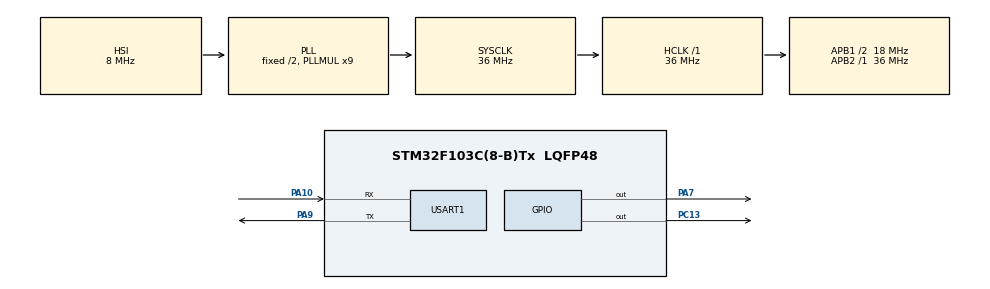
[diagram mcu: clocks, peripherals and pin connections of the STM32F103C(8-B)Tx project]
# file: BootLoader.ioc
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Mcu.Family=STM32F1
Mcu.Name=STM32F103C(8-B)Tx
Mcu.Package=LQFP48
NVIC.PriorityGroup=NVIC_PRIORITYGROUP_4
PA10.Mode=Asynchronous
PA10.Signal=USART1_RX
PA7.Signal=GPIO_Output
PA9.Mode=Asynchronous
PA9.Signal=USART1_TX
PC13-TAMPER-RTC.Signal=GPIO_Output
ProjectManager.HeapSize=0x200
ProjectManager.StackSize=0x400
ProjectManager.TargetToolchain=STM32CubeIDE
RCC.AHBFreq_Value=36000000
RCC.APB1CLKDivider=RCC_HCLK_DIV2
RCC.APB1Freq_Value=18000000
RCC.APB1TimFreq_Value=36000000
RCC.APB2Freq_Value=36000000
RCC.APB2TimFreq_Value=36000000
RCC.HCLKFreq_Value=36000000
RCC.PLLMUL=RCC_PLL_MUL9
RCC.SYSCLKFreq_VALUE=36000000
RCC.SYSCLKSource=RCC_SYSCLKSOURCE_PLLCLK
RCC.USBFreq_Value=24000000
RCC.USBPrescaler=RCC_USBCLKSOURCE_PLL_DIV1_5
USART1.VirtualMode=VM_ASYNC
board=custom

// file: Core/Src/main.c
/* USER CODE BEGIN Header */
/**
  ******************************************************************************
  * @file           : main.c
  * @brief          : Main program body
  ******************************************************************************
  * @attention
  *
  * Copyright (c) 2023 STMicroelectronics.
  * All rights reserved.
  *
  * This software is licensed under terms that can be found in the LICENSE file
  * in the root directory of this software component.
  * If no LICENSE file comes with this software, it is provided AS-IS.
  *
  ******************************************************************************
  */
/* USER CODE END Header */
#include "main.h"

/* USER CODE BEGIN Includes */
#include <stdio.h>
#include "BL_Functions.h"
#include "SharedAPIs.h"
//#include "Print.h"
#include "Flashing.h"
#include "NVM.h"
#include "SharedData.h"
#include "Print.h"
/* USER CODE END Includes */

/* USER CODE BEGIN PTD */
typedef uint8_t	uint8;
/* USER CODE END PTD */

/* USER CODE BEGIN PD */
#define 	MAJOR_VERSION		0
#define 	MINOR_VERSION		5

#define 	JUST_FLASHED_4BYTES		0xAAAAAAAA

/* USER CODE END PD */

UART_HandleTypeDef huart1;

/* USER CODE BEGIN PV */
const uint8 BL_Version[2] = {MAJOR_VERSION, MINOR_VERSION};
/* USER CODE END PV */

void SystemClock_Config(void);
static void MX_GPIO_Init(void);
static void MX_USART1_UART_Init(void);

/* USER CODE BEGIN 0 */

//NVM_VARIABLE(uint32_t,Counter) = 0;
/* USER CODE END 0 */

int main(void)
{
  /* USER CODE BEGIN 1 */
//#define NVM_TEST
//	BlockIDs NVM_Blocks;
#ifdef NVM_TEST
	uint32_t* u32_Data = 0;
	NVM_ReadBlock(JustFlashed, u32_Data);

	if (*u32_Data != JUST_FLASHED_4BYTES)
	{
		/* This Software has just been Flashed */
		NVM_WriteBlock(JustFlashed,(uint32_t*) JUST_FLASHED_4BYTES);
		NVM_WriteBlock(BootCounter,(uint32_t*) 1);
		/* w hna n3ml flash l el Application software */
	}
	else
	{
		uint32_t* BootCounterFromNVM = 0;
		NVM_ReadBlock(BootCounter, BootCounterFromNVM);

		NVM_WriteBlock(BootCounter,(uint32_t*) BootCounterFromNVM + 1);
		printf("this is the Boot Number = %ul",*BootCounterFromNVM);
	}
#endif
  /* USER CODE END 1 */

  /* MCU Configuration--------------------------------------------------------*/
	if(SharedStruct.DownloadRequestedFromApplication != 1)
	{
  /* Reset of all peripherals, Initializes the Flash interface and the Systick. */
		HAL_Init();
	}

  /* Configure the system clock */
  SystemClock_Config();

  /* USER CODE BEGIN SysInit */
//	HAL_GPIO_TogglePin(GPIOC, GPIO_PIN_13);
  /* USER CODE END SysInit */

  /* Initialize all configured peripherals */
  MX_GPIO_Init();
  MX_USART1_UART_Init();
  /* USER CODE BEGIN 2 */
//  printf("Starting BootLoader (%d.%d)\r\n",BL_Version[0],BL_Version[1]);

  /* USER CODE END 2 */

  /* Infinite loop */
  /* USER CODE BEGIN WHILE */
	uint8_t Status;
	Status = CheckIfAppCorupted();
	if (Status == 1)
	{
//		uint8_t StatusFlashing = FlashApplication();
	}
	else if (SharedStruct.DownloadRequestedFromApplication == 1)
	{
//		uint8_t StatusFlashing = FlashApplication();
	}

  while (1)
  {
#define SHARED_APIS_TEST
#ifdef SHARED_APIS_TEST

	  SharedAPIs.ToggleLedPtr();
	  HAL_Delay(1000);

//		Counter ++;
//		u32 address = 0x800EC08;
//		u32* ptr = 0x800EC08;
//		u32* BootCounter = 0x800EC04;
//		u32* BootCounterAddress = 0x800EC04;

#endif
		uint32_t DataToBeWritten = 0xAABBCCDD;
		uint32_t DataBuffer;
#ifdef GITHUB_FLASH

		if (*ptr != 0x55555555)
		{
			/* we have just flashed */
			status = FLASH_Unlock();
			status = FLASH_MultiplePageErase(address,1);
			status = FLASH_WriteWord((u32*)address,0x55555555);

			status = FLASH_WriteWord((u32*)BootCounterAddress,0);
			HAL_GPIO_WritePin(GPIOC, GPIO_PIN_13,GPIO_PIN_SET);
			printf("We didnot Found the Saved Address\r\n");
		}
		else
		{
			uint32_t Counter = *BootCounter;
			Counter = Counter + 1;
		status = FLASH_WriteWord((u32*)BootCounterAddress,Counter);
		printf("We Booted This Software %d Times\r\n", Counter);
		}
#endif

#ifdef TESTING_NVM
		Status = FlashUnlock();
		Status = NVM_WriteAddress(AppCounter, &DataToBeWritten);
		FlashLock();
		HAL_Delay(100);
		DataToBeWritten = 0x11223344;
		Status = FlashUnlock();
		Status = NVM_OverWriteAddress(AppCounter, &DataToBeWritten);
		FlashLock();

		if(EnterOnce == 1)
		{
			EnterOnce = 0;
			NVM_ReadAddress(BootCounter, &DataBuffer);
			if (DataBuffer == 0xFFFFFFFF)
			{
				/* This is the first time boot */
				DataToBeWritten = 0;
				Status = FlashUnlock();
				Status = NVM_WriteAddress(BootCounter, &DataToBeWritten);
				FlashLock();
				printf("I have Wrote zero in the section\r\n");
			}
			else
			{
				DataToBeWritten = DataBuffer + 1;
				Status = FlashUnlock();
				Status = NVM_OverWriteAddress(BootCounter, &DataToBeWritten);
				Status = FlashUnlock();
				printf("I have Wrote %d in the Section, we entered the else\r\n",DataToBeWritten);
			}

		}
#endif

		if(SharedStruct.GoToBootloaderRequested == 1 )
		{
			SharedAPIs.UDS_MainFunction();
		}
		else
		{
//			GoToApplication();
			UDS_MainFunction();
		}

    /* USER CODE END WHILE */

  }
}

void SystemClock_Config(void)
{
  RCC_OscInitTypeDef RCC_OscInitStruct = {0};
  RCC_ClkInitTypeDef RCC_ClkInitStruct = {0};

  /** Initializes the RCC Oscillators according to the specified parameters
  * in the RCC_OscInitTypeDef structure.
  */
  RCC_OscInitStruct.OscillatorType = RCC_OSCILLATORTYPE_HSI;
  RCC_OscInitStruct.HSIState = RCC_HSI_ON;
  RCC_OscInitStruct.HSICalibrationValue = RCC_HSICALIBRATION_DEFAULT;
  RCC_OscInitStruct.PLL.PLLState = RCC_PLL_ON;
  RCC_OscInitStruct.PLL.PLLSource = RCC_PLLSOURCE_HSI_DIV2;
  RCC_OscInitStruct.PLL.PLLMUL = RCC_PLL_MUL9;
  if (HAL_RCC_OscConfig(&RCC_OscInitStruct) != HAL_OK)
  {
    Error_Handler();
  }

  /** Initializes the CPU, AHB and APB buses clocks
  */
  RCC_ClkInitStruct.ClockType = RCC_CLOCKTYPE_HCLK|RCC_CLOCKTYPE_SYSCLK
                              |RCC_CLOCKTYPE_PCLK1|RCC_CLOCKTYPE_PCLK2;
  RCC_ClkInitStruct.SYSCLKSource = RCC_SYSCLKSOURCE_PLLCLK;
  RCC_ClkInitStruct.AHBCLKDivider = RCC_SYSCLK_DIV1;
  RCC_ClkInitStruct.APB1CLKDivider = RCC_HCLK_DIV2;
  RCC_ClkInitStruct.APB2CLKDivider = RCC_HCLK_DIV1;

  if (HAL_RCC_ClockConfig(&RCC_ClkInitStruct, FLASH_LATENCY_1) != HAL_OK)
  {
    Error_Handler();
  }
}

static void MX_USART1_UART_Init(void)
{

	huart1.Instance = USART1;
	huart1.Init.BaudRate = 115200;
	huart1.Init.WordLength = UART_WORDLENGTH_8B;
	huart1.Init.StopBits = UART_STOPBITS_1;
	huart1.Init.Parity = UART_PARITY_NONE;
	huart1.Init.Mode = UART_MODE_TX_RX;
	huart1.Init.HwFlowCtl = UART_HWCONTROL_NONE;
	huart1.Init.OverSampling = UART_OVERSAMPLING_16;
	if (HAL_UART_Init(&huart1) != HAL_OK)
	{
		Error_Handler();
	}

}

static void MX_GPIO_Init(void)
{
  GPIO_InitTypeDef GPIO_InitStruct = {0};

  /* GPIO Ports Clock Enable */
  __HAL_RCC_GPIOC_CLK_ENABLE();
  __HAL_RCC_GPIOA_CLK_ENABLE();

  /*Configure GPIO pin Output Level */
  HAL_GPIO_WritePin(GPIOC, GPIO_PIN_13, GPIO_PIN_RESET);

  /*Configure GPIO pin Output Level */
  HAL_GPIO_WritePin(GPIOA, GPIO_PIN_7, GPIO_PIN_RESET);

  /*Configure GPIO pin : PC13 */
  GPIO_InitStruct.Pin = GPIO_PIN_13;
  GPIO_InitStruct.Mode = GPIO_MODE_OUTPUT_PP;
  GPIO_InitStruct.Pull = GPIO_NOPULL;
  GPIO_InitStruct.Speed = GPIO_SPEED_FREQ_LOW;
  HAL_GPIO_Init(GPIOC, &GPIO_InitStruct);

  /*Configure GPIO pin : PA7 */
  GPIO_InitStruct.Pin = GPIO_PIN_7;
  GPIO_InitStruct.Mode = GPIO_MODE_OUTPUT_PP;
  GPIO_InitStruct.Pull = GPIO_NOPULL;
  GPIO_InitStruct.Speed = GPIO_SPEED_FREQ_LOW;
  HAL_GPIO_Init(GPIOA, &GPIO_InitStruct);

}

/* USER CODE BEGIN 4 */
//#ifdef __GNUC__
//  /* With GCC, small printf (option LD Linker->Libraries->Small printf
//     set to 'Yes') calls __io_putchar() */
//int __io_putchar(int ch)
//#else
//int fputc(int ch, FILE *f)
//#endif /* __GNUC__ */
//{
//  /* Place your implementation of fputc here */
//  /* e.g. write a character to the UART3 and Loop until the end of transmission */
//  HAL_UART_Transmit(&huart1, (uint8_t *)&ch, 1, HAL_MAX_DELAY);
//
//  return ch;
//}

/* USER CODE END 4 */

void Error_Handler(void)
{
  __disable_irq();
  while (1)
  {
  }
}
